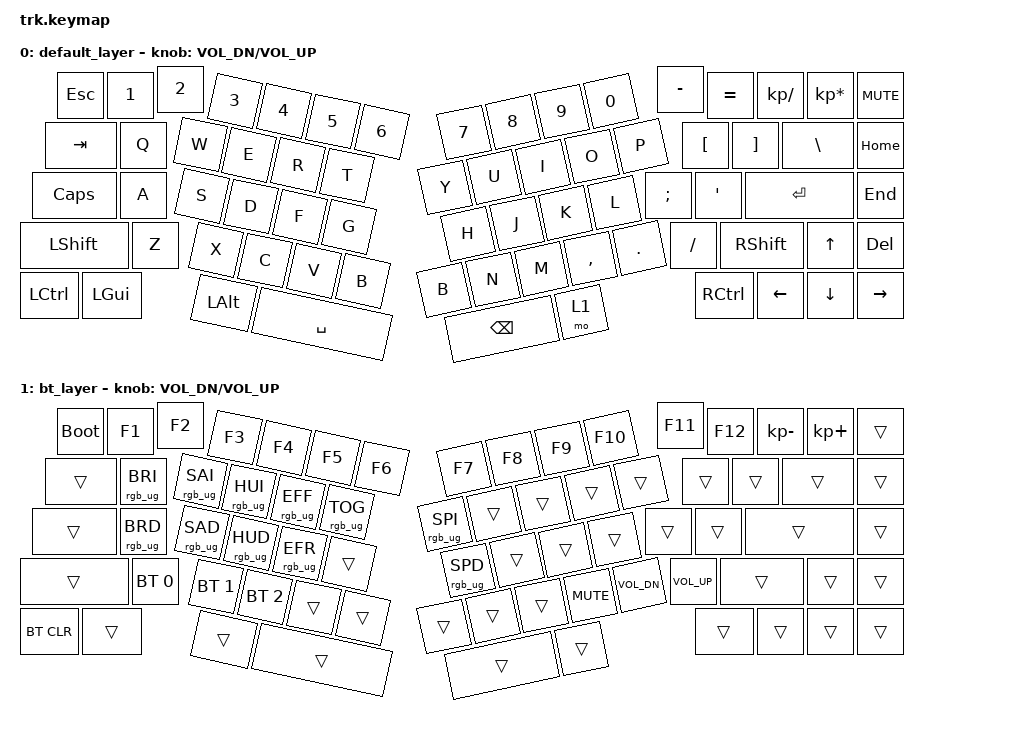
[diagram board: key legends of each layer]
#include <behaviors.dtsi>
#include <dt-bindings/zmk/keys.h>
#include <dt-bindings/zmk/bt.h>
#include <dt-bindings/zmk/ext_power.h>
#include <dt-bindings/zmk/rgb.h>

&encoder { status = "okay"; };

/ {
	keymap {
		compatible = "zmk,keymap";
		default_layer {
			bindings = <
			    &kp ESC     &kp N1          &kp N2          &kp N3          &kp N4          &kp N5              &kp N6              &kp N7      &kp N8      &kp N9          &kp N0      &kp MINUS     &kp EQUAL   &kp KP_DIVIDE     &kp KP_MULTIPLY
				&kp TAB     &kp Q           &kp W           &kp E           &kp R           &kp T               &kp Y               &kp U       &kp I       &kp O           &kp P       &kp LBKT      &kp RBKT    &kp BSLH   	    &kp HOME
				&kp CLCK    &kp A           &kp S           &kp D           &kp F           &kp G               &kp H               &kp J       &kp K       &kp L           &kp C_MUTE  &kp SEMI      &kp SQT     &kp RET           &kp END
				&kp LSHFT   &kp Z           &kp X           &kp C           &kp V           &kp B               &kp N               &kp M       &kp COMMA   &kp DOT                     &kp FSLH      &kp RSHFT   &kp UP     	    &kp DEL
			    &kp LCTRL   &kp LGUI        &kp LALT                        &kp SPACE       &kp B               &kp BSPC                        &mo 1                                   &kp RCTRL     &kp LEFT    &kp DOWN   	    &kp RIGHT
			>;
			sensor-bindings = <&inc_dec_kp C_VOL_DN C_VOL_UP>;
		};

		bt_layer {
			bindings = <
			    &bootloader &kp F1          &kp F2          &kp F3          &kp F4          &kp F5              &kp F6              &kp F7      &kp F8      &kp F9          &kp F10	    &kp F11         &kp F12     &kp KP_MINUS    &kp KP_PLUS
                &trans      &rgb_ug RGB_BRI &rgb_ug RGB_SAI &rgb_ug RGB_HUI &rgb_ug RGB_EFF &rgb_ug RGB_TOG     &rgb_ug RGB_SPI		&trans 		&trans		&trans		    &trans      &trans	        &trans      &trans          &trans
                &trans      &rgb_ug RGB_BRD &rgb_ug RGB_SAD &rgb_ug RGB_HUD &rgb_ug RGB_EFR &trans		        &rgb_ug RGB_SPD 	&trans		&trans		&trans          &trans	    &trans          &trans      &trans		    &trans
                &trans      &bt BT_SEL 0    &bt BT_SEL 1    &bt BT_SEL 2    &trans          &trans		        &trans 		        &trans      &kp C_MUTE	&kp C_VOL_DN          	    &kp C_VOL_UP    &trans      &trans		    &trans
                &bt BT_CLR  &trans          &trans                          &trans          &trans		        &trans 		              		&trans		                       	    &trans          &trans      &trans		    &trans
			>;
			sensor-bindings = <&inc_dec_kp C_VOL_DN C_VOL_UP>;
		};
	};
};
